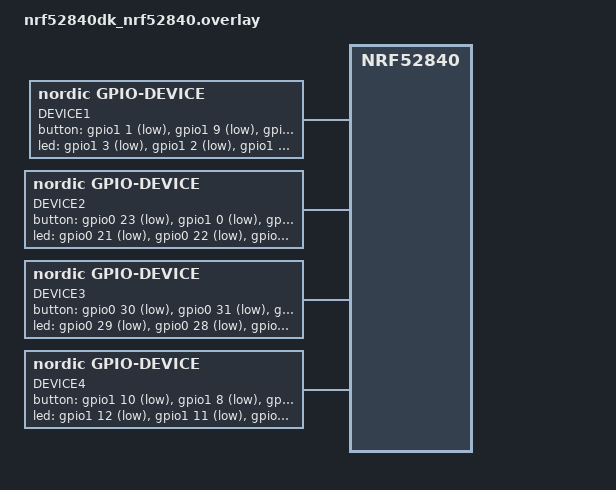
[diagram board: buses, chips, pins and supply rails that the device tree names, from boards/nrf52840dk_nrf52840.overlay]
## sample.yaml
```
sample:
  description: GPIO button and LED controller
  name: GPIO device
tests:
  sample.gpio_device:
    platform_allow: nrf52840dk_nrf52840
    integration_platforms:
      - nrf52840dk_nrf52840
```

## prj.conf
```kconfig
CONFIG_NCS_SAMPLES_DEFAULTS=y

CONFIG_GPIO=y

# Make sure printk is not printing to the UART console
CONFIG_CONSOLE=y
CONFIG_UART_CONSOLE=y
CONFIG_SHELL=y
CONFIG_LOG_DEFAULT_LEVEL=3
```

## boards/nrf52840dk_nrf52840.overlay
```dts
/ {
    device1: device_1 {
        status = "okay";
        compatible = "nordic,gpio-device";
        label = "DEVICE1";
        button-gpios = <&gpio1 1 GPIO_ACTIVE_LOW>,
                       <&gpio1 9 GPIO_ACTIVE_LOW>,
                       <&gpio1 6 GPIO_ACTIVE_LOW>,
                       <&gpio1 7 GPIO_ACTIVE_LOW>;
        led-gpios = <&gpio1 3 GPIO_ACTIVE_LOW>, 
                    <&gpio1 2 GPIO_ACTIVE_LOW>, 
                    <&gpio1 5 GPIO_ACTIVE_LOW>,
                    <&gpio1 4 GPIO_ACTIVE_LOW>;
    };
    device2: device_2 {
        status = "okay";
        compatible = "nordic,gpio-device";
        label = "DEVICE2";
        button-gpios = <&gpio0 23 GPIO_ACTIVE_LOW>,
                       <&gpio1 0 GPIO_ACTIVE_LOW>,
                       <&gpio0 18 GPIO_ACTIVE_LOW>,
                       <&gpio0 17 GPIO_ACTIVE_LOW>;
        led-gpios = <&gpio0 21 GPIO_ACTIVE_LOW>,
                    <&gpio0 22 GPIO_ACTIVE_LOW>,
                    <&gpio0 19 GPIO_ACTIVE_LOW>,
                    <&gpio0 20 GPIO_ACTIVE_LOW>;
    };
    device3: device_3 {
        status = "okay";
        compatible = "nordic,gpio-device";
        label = "DEVICE3";
        button-gpios = <&gpio0 30 GPIO_ACTIVE_LOW>,
                       <&gpio0 31 GPIO_ACTIVE_LOW>,
                       <&gpio0 26 GPIO_ACTIVE_LOW>,
                       <&gpio0 27 GPIO_ACTIVE_LOW>;
        led-gpios = <&gpio0 29 GPIO_ACTIVE_LOW>,
                    <&gpio0 28 GPIO_ACTIVE_LOW>,
                    <&gpio0 4 GPIO_ACTIVE_LOW>,
                    <&gpio0 3 GPIO_ACTIVE_LOW>;
    };
    device4: device_4 {
        status = "okay";
        compatible = "nordic,gpio-device";
        label = "DEVICE4";
        button-gpios = <&gpio1 10 GPIO_ACTIVE_LOW>,
                       <&gpio1 8 GPIO_ACTIVE_LOW>,
                       <&gpio1 15 GPIO_ACTIVE_LOW>,
                       <&gpio0 2 GPIO_ACTIVE_LOW>;
        led-gpios = <&gpio1 12 GPIO_ACTIVE_LOW>,
                    <&gpio1 11 GPIO_ACTIVE_LOW>,
                    <&gpio1 14 GPIO_ACTIVE_LOW>,
                    <&gpio1 13 GPIO_ACTIVE_LOW>;
    };
};

&qspi{
    status = "disabled";
};

&spi0 {
    status = "disabled";
};

&spi1 {
    status = "disabled";
};

&spi2 {
    status = "disabled";
};

&spi3 {
    status = "disabled";
};

&adc{
    status = "disabled";
};

&i2c0 {
    status = "disabled";
};    

&i2c1 {
    status = "disabled";
};    

&uart1 {
    status = "disabled";
};    
```

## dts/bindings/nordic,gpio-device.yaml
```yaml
compatible: "nordic,gpio-device"
description: GPIO device
properties:
  button-gpios:
    type: phandle-array
    description: button gpio pins
    required: true
  led-gpios: 
    type: phandle-array
    description: LED gpio pins
    required: true
  label:
    type: string
    required: human-readable name
    required: false
```

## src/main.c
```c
#include <zephyr.h>

#include <device.h>
#include <devicetree.h>
#include <drivers/gpio.h>
#include <logging/log.h>
#include <shell/shell.h>

LOG_MODULE_REGISTER(app);

#define BOARD_1 1
#define BOARD_2 2
#define BOARD_3 3
#define BOARD_4 4

#define NUMBER_OF_DEVICES 4

#define ON 1
#define OFF 0 

struct device_config {
	int num_leds;
	int num_buttons;
	const struct gpio_dt_spec *button_spec;
	const struct gpio_dt_spec *led_spec;
};

#define DT_DRV_COMPAT nordic_gpio_device
#define MYDEV(idx) DT_NODELABEL(device ## idx)

int led_gpios_init(const struct device *dev)
{ 	

	const struct device_config *config = dev->config;
	
	int err = 0;
	LOG_INF("Device: %s, number of LEDs: %d", dev->name, config->num_leds);
	if (!config->num_leds) {
		LOG_ERR("%s: no LEDs found (DT child nodes missing)", dev->name);
		err = -ENODEV;
	}

	for (size_t i = 0; (i < config->num_leds) && !err; i++) {

		const struct gpio_dt_spec *led_spec = &config->led_spec[i];

		if (device_is_ready(led_spec->port)) {
			err = gpio_pin_configure_dt(led_spec, GPIO_INPUT);

			if (err) {
				LOG_ERR("Cannot configure GPIO (err %d)", err);
			}
		} else {
			LOG_ERR("%s: GPIO device not ready", dev->name);
			err = -ENODEV;
		}
	}
	return err;
}


int button_gpios_init(const struct device *dev)
{ 	

	const struct device_config *config = dev->config;
	
	int err = 0;
	LOG_INF("Device: %s, number of Buttons: %d", dev->name, config->num_buttons);
	if (!config->num_buttons) {
		LOG_ERR("%s: no LEDs found (DT child nodes missing)", dev->name);
		err = -ENODEV;
	}

	for (size_t i = 0; (i < config->num_buttons) && !err; i++) {

		const struct gpio_dt_spec *button_spec = &config->button_spec[i];

		if (device_is_ready(button_spec->port)) {
			err = gpio_pin_configure_dt(button_spec, GPIO_OUTPUT);

			if (err) {
				LOG_ERR("Cannot configure GPIO (err %d)", err);
			}
			gpio_pin_set_dt(button_spec,OFF);
		} else {
			LOG_ERR("%s: GPIO device not ready", dev->name);
			err = -ENODEV;
		}
	}
	return err;
}


static void dev_init_function(const struct device *dev)
{
	int err;
	err = led_gpios_init(dev);
	if (err) {
		LOG_ERR("Could not init LED GPIOS");
	}
	err = button_gpios_init(dev);
}


#define LED_GPIO_DT_SPEC(device_node_id,i) \
		GPIO_DT_SPEC_GET_BY_IDX(device_node_id, led_gpios,i)

#define BUTTON_GPIO_DT_SPEC(device_node_id,i) \
		GPIO_DT_SPEC_GET_BY_IDX(device_node_id, button_gpios,i)
                                 
#define CREATE_MY_DEVICE(idx)                                    	        \
	static const struct gpio_dt_spec led_gpio_dt_spec_##idx[] = {	        \
		LED_GPIO_DT_SPEC(MYDEV(idx),0),										\
		LED_GPIO_DT_SPEC(MYDEV(idx),1),										\
		LED_GPIO_DT_SPEC(MYDEV(idx),2),										\
		LED_GPIO_DT_SPEC(MYDEV(idx),3), 									\
	};																		\
	static const struct gpio_dt_spec button_gpio_dt_spec_##idx[] = {	    \
		BUTTON_GPIO_DT_SPEC(MYDEV(idx),0),                                  \
		BUTTON_GPIO_DT_SPEC(MYDEV(idx),1),                                  \
		BUTTON_GPIO_DT_SPEC(MYDEV(idx),2),                                  \
		BUTTON_GPIO_DT_SPEC(MYDEV(idx),3),                                  \
	};																		\
	 static const struct device_config device_config_##idx = {	   		    \
	.num_leds	  = ARRAY_SIZE(led_gpio_dt_spec_##idx),						\
	.led_spec	  = led_gpio_dt_spec_##idx,								    \
	.num_buttons  = ARRAY_SIZE(button_gpio_dt_spec_##idx),					\
	.button_spec  = button_gpio_dt_spec_##idx,								\
	};                                                				  		\
     DEVICE_DT_DEFINE(MYDEV(idx),                                     		\
                        dev_init_function,                        			\
                        NULL,                                      			\
                        NULL,                          			 			\
                        &device_config_##idx,                     			\
                        POST_KERNEL, CONFIG_KERNEL_INIT_PRIORITY_DEVICE,    \
                        NULL);

#if DT_NODE_HAS_STATUS(DT_NODELABEL(device1), okay)
CREATE_MY_DEVICE(1)
#endif

#if DT_NODE_HAS_STATUS(DT_NODELABEL(device2), okay)
CREATE_MY_DEVICE(2)
#endif

#if DT_NODE_HAS_STATUS(DT_NODELABEL(device3), okay)
CREATE_MY_DEVICE(3)
#endif

#if DT_NODE_HAS_STATUS(DT_NODELABEL(device4), okay)
CREATE_MY_DEVICE(4)
#endif

void button_set(uint8_t device, uint8_t button_number)
{
	switch(device){
		case BOARD_1:
			gpio_pin_set_dt(&(device_config_1.button_spec[button_number-1]), ON);
			k_sleep(K_MSEC(5));
			gpio_pin_set_dt(&(device_config_1.button_spec[button_number-1]),OFF);
		break;
		case BOARD_2:
			gpio_pin_set_dt(&(device_config_2.button_spec[button_number-1]),ON);
			k_sleep(K_MSEC(5));
			gpio_pin_set_dt(&(device_config_2.button_spec[button_number-1]),OFF);
		break;
		case BOARD_3:
			gpio_pin_set_dt(&(device_config_3.button_spec[button_number-1]), ON);
			k_sleep(K_MSEC(5));
			gpio_pin_set_dt(&(device_config_3.button_spec[button_number-1]),OFF);
		break;
		case BOARD_4:
			gpio_pin_set_dt(&(device_config_4.button_spec[button_number-1]),ON);
			k_sleep(K_MSEC(5));
			gpio_pin_set_dt(&(device_config_4.button_spec[button_number-1]),OFF);
		break;
	}
}

int led_get(uint8_t device, uint8_t led_number)
{
	int val = -1;
	switch(device){
		case BOARD_1:
			val = gpio_pin_get_dt(&(device_config_1.led_spec[led_number-1]));
		break;
		case BOARD_2:
			val = gpio_pin_get_dt(&(device_config_2.led_spec[led_number-1]));
		break;
		case BOARD_3:
			val = gpio_pin_get_dt(&(device_config_3.led_spec[led_number-1]));
		break;
		case BOARD_4:
			val = gpio_pin_get_dt(&(device_config_4.led_spec[led_number-1]));
		break;
	}
	return val;
}


static int cmd_gpio_set(const struct shell *shell,
			size_t argc, char **argv)
{
	uint8_t device = atoi(argv[1]);
	uint8_t button = atoi(argv[2]);

	shell_print(shell, "Pressing button %d on device %d", button, device);
	button_set(device,button);

	return 0;
}



static int cmd_led_get(const struct shell *shell,
			size_t argc, char **argv)
{
	uint8_t device = atoi(argv[1]);
	uint8_t led = atoi(argv[2]);
	int val;

	shell_print(shell, "Reading LED %d on device %d", led, device);
	val = led_get(device,led);
	if(val<0) {
		LOG_ERR("Could not get LED status, err: %d", val);
	}
	LOG_INF("LED status: %d",val);

	return 0;
}

static void cmd_gpio_view(const struct shell *shell,
			size_t argc, char **argv)
{
	int led_status_list[4];
	ARG_UNUSED(argc);
    ARG_UNUSED(argv);
	for (int i=1; i<=NUMBER_OF_DEVICES; i++){
		for (int j=0; j<4; j++) {
			led_status_list[j] = led_get(i,j+1);
		}
		shell_print(shell, "---------------------");
		shell_print(shell, "   Device number %d", i);
		shell_print(shell, "     LED1   LED2");
		shell_print(shell, "       %d      %d", led_status_list[0], led_status_list[1]);
		shell_print(shell, "     LED3   LED4");
		shell_print(shell, "       %d      %d", led_status_list[2], led_status_list[3]);
		shell_print(shell, "---------------------");
		shell_print(shell, "");
	}
}



SHELL_STATIC_SUBCMD_SET_CREATE(sub_lb,
	SHELL_CMD_ARG(set, NULL, "Press button", cmd_gpio_set, 3, 0),
	SHELL_CMD_ARG(get, NULL, "Get LED state", cmd_led_get, 3, 0),
	SHELL_CMD(view, NULL, "View all DKs and LEDs", cmd_gpio_view),
	SHELL_SUBCMD_SET_END /* Array terminated. */
);

SHELL_CMD_REGISTER(lb, &sub_lb, "GPIO commands", NULL);


void main(void)
{
}
```
